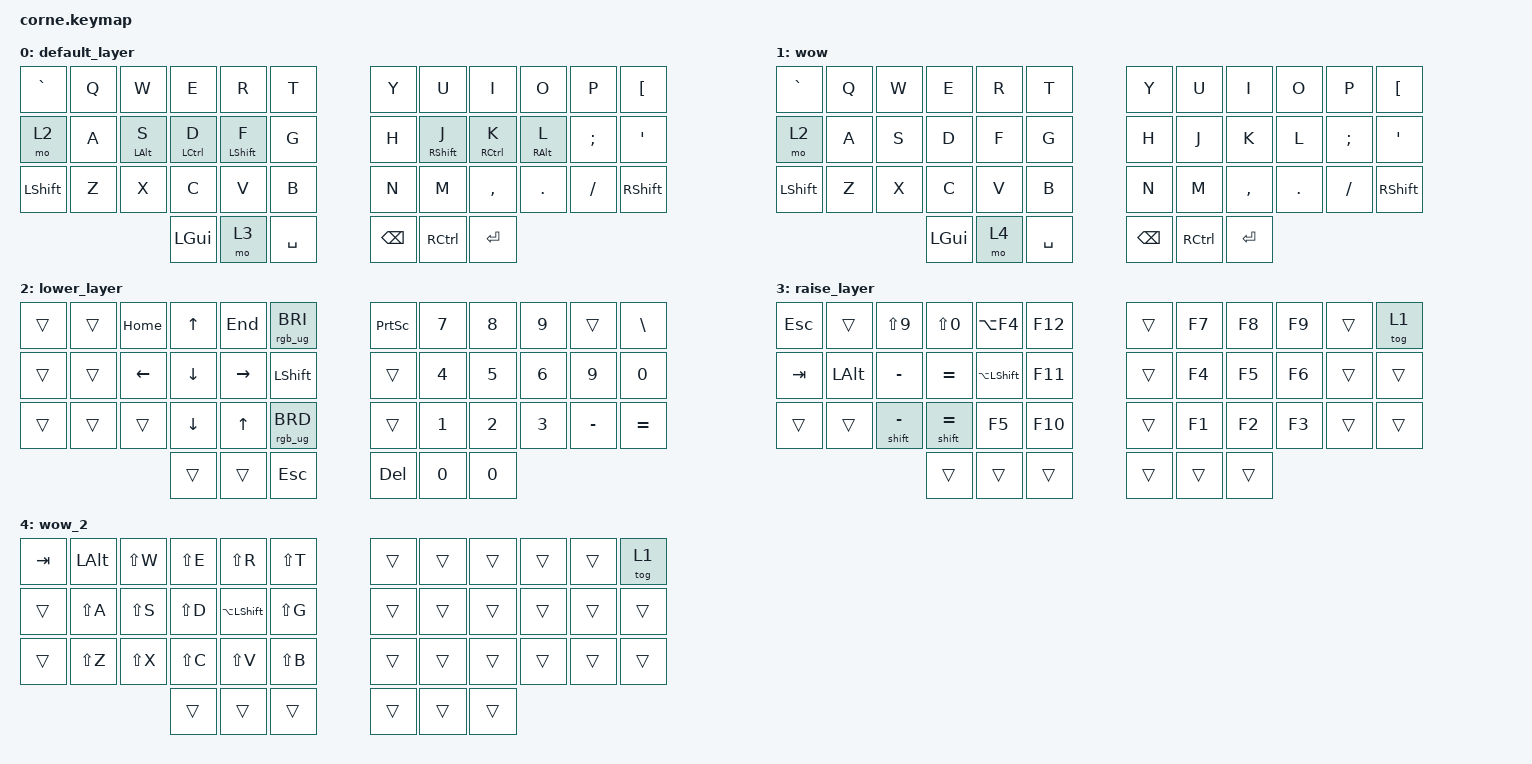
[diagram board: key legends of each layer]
/*
 * Copyright (c) 2020 The ZMK Contributors
 *
 * SPDX-License-Identifier: MIT
 */

#include <behaviors.dtsi>
#include <dt-bindings/zmk/keys.h>
#include <dt-bindings/zmk/rgb.h>

/ {
    behaviors {
        hml: hml {
            compatible = "zmk,behavior-hold-tap";
            label = "HML";
            bindings = <&kp>, <&kp>;

            #binding-cells = <2>;
            tapping-term-ms = <220>;
            hold-trigger-key-positions = <6 7 8 9 10 11 18 19 20 21 22 23 30 31 32 33 34 35 39 40 41>;
            flavor = "tap-preferred";
        };

        hmr: hmr {
            compatible = "zmk,behavior-hold-tap";
            label = "HMR";
            bindings = <&kp>, <&kp>;

            #binding-cells = <2>;
            tapping-term-ms = <220>;
            hold-trigger-key-positions = <0 1 2 3 4 5 12 13 14 15 16 17 24 25 26 27 28 29 36 37 38>;
            flavor = "tap-preferred";
        };
    };

    macros {
        shift: shift {
            compatible = "zmk,behavior-macro-one-param";
            #binding-cells = <1>;
            bindings =
                <&macro_press>,
                <&kp LEFT_SHIFT>,
                <&macro_tap>,
                <&macro_param_1to1 &kp MACRO_PLACEHOLDER>,
                <&macro_release>,
                <&kp LEFT_SHIFT>;

            label = "SHIFT";
        };
    };

    combos {
        compatible = "zmk,combos";

        esc {
            bindings = <&kp TAB>;
            key-positions = <0 1>;
        };

        equal {
            bindings = <&kp ENTER>;
            key-positions = <22 23>;
        };

        equal2 {
            bindings = <&kp RIGHT_BRACKET>;
            key-positions = <32 33>;
        };
    };

    keymap {
        compatible = "zmk,keymap";

        default_layer {
            // -----------------------------------------------------------------------------------------
            // |  TAB |  Q  |  W  |  E  |  R  |  T  |   |  Y  |  U   |  I  |  O  |  P  | BSPC |
            // | CTRL |  A  |  S  |  D  |  F  |  G  |   |  H  |  J   |  K  |  L  |  ;  |  '   |
            // | SHFT |  Z  |  X  |  C  |  V  |  B  |   |  N  |  M   |  ,  |  .  |  /  | ESC  |
            //                    | GUI | LWR | SPC |   | ENT | RSE  | ALT |

            bindings = <
&kp GRAVE       &kp Q  &kp W            &kp E                &kp R              &kp T        &kp Y          &kp U               &kp I                 &kp O             &kp P          &kp LEFT_BRACKET
&mo 2           &kp A  &hml LEFT_ALT S  &hml LEFT_CONTROL D  &hml LEFT_SHIFT F  &kp G        &kp H          &hmr RIGHT_SHIFT J  &hmr RIGHT_CONTROL K  &hmr RIGHT_ALT L  &kp SEMICOLON  &kp SQT
&kp LEFT_SHIFT  &kp Z  &kp X            &kp C                &kp V              &kp B        &kp N          &kp M               &kp COMMA             &kp DOT           &kp FSLH       &kp RIGHT_SHIFT
                                        &kp LEFT_GUI         &mo 3              &kp SPACE    &kp BACKSPACE  &kp RIGHT_CONTROL   &kp ENTER
            >;
        };

        wow {
            // -----------------------------------------------------------------------------------------
            // |  TAB |  Q  |  W  |  E  |  R  |  T  |   |  Y  |  U   |  I  |  O  |  P  | BSPC |
            // | CTRL |  A  |  S  |  D  |  F  |  G  |   |  H  |  J   |  K  |  L  |  ;  |  '   |
            // | SHFT |  Z  |  X  |  C  |  V  |  B  |   |  N  |  M   |  ,  |  .  |  /  | ESC  |
            //                    | GUI | LWR | SPC |   | ENT | RSE  | ALT |

            bindings = <
&kp GRAVE       &kp Q  &kp W  &kp E         &kp R  &kp T        &kp Y          &kp U              &kp I      &kp O    &kp P          &kp LEFT_BRACKET
&mo 2           &kp A  &kp S  &kp D         &kp F  &kp G        &kp H          &kp J              &kp K      &kp L    &kp SEMICOLON  &kp SQT
&kp LEFT_SHIFT  &kp Z  &kp X  &kp C         &kp V  &kp B        &kp N          &kp M              &kp COMMA  &kp DOT  &kp FSLH       &kp RIGHT_SHIFT
                              &kp LEFT_GUI  &mo 4  &kp SPACE    &kp BACKSPACE  &kp RIGHT_CONTROL  &kp ENTER
            >;
        };

        lower_layer {
            // -----------------------------------------------------------------------------------------
            // |  TAB |  1  |  2  |  3  |  4  |  5  |   |  6  |  7  |  8  |  9  |  0  | BSPC |
            // | BTCLR| BT1 | BT2 | BT3 | BT4 | BT5 |   | LFT | DWN |  UP | RGT |     |      |
            // | SHFT |     |     |     |     |     |   |     |     |     |     |     |      |
            //                    | GUI |     | SPC |   | ENT |     | ALT |

            bindings = <
&trans  &trans  &kp HOME  &kp UP_ARROW    &kp END       &rgb_ug RGB_BRI    &kp PRINTSCREEN  &kp NUMBER_7  &kp NUMBER_8  &kp NUMBER_9  &trans     &kp BACKSLASH
&trans  &trans  &kp LEFT  &kp DOWN        &kp RIGHT     &kp LEFT_SHIFT     &trans           &kp NUMBER_4  &kp NUMBER_5  &kp NUMBER_6  &kp NUMBER_9  &kp NUMBER_0
&trans  &trans  &trans    &kp DOWN_ARROW  &kp UP_ARROW  &rgb_ug RGB_BRD    &trans           &kp NUMBER_1  &kp NUMBER_2  &kp NUMBER_3  &kp MINUS  &kp EQUAL
                          &trans          &trans        &kp ESCAPE         &kp DELETE       &kp NUMBER_0  &kp NUMBER_0
            >;
        };

        raise_layer {
            // -----------------------------------------------------------------------------------------
            // |  TAB |  !  |  @  |  #  |  $  |  %  |   |  ^  |  &  |  *  |  (  |  )  | BSPC |
            // | CTRL |     |     |     |     |     |   |  -  |  =  |  [  |  ]  |  \  |  `   |
            // | SHFT |     |     |     |     |     |   |  _  |  +  |  {  |  }  | "|" |  ~   |
            //                    | GUI |     | SPC |   | ENT |     | ALT |

            bindings = <
&kp ESCAPE  &trans        &kp LS(NUMBER_9)  &kp LS(NUMBER_0)  &kp LA(F4)          &kp F12    &trans  &kp F7  &kp F8  &kp F9  &trans  &tog 1
&kp TAB     &kp LEFT_ALT  &kp MINUS         &kp EQUAL         &kp LA(LEFT_SHIFT)  &kp F11    &trans  &kp F4  &kp F5  &kp F6  &trans  &trans
&trans      &trans        &shift MINUS      &shift EQUAL      &kp F5              &kp F10    &trans  &kp F1  &kp F2  &kp F3  &trans  &trans
                                            &trans            &trans              &trans     &trans  &trans  &trans
            >;
        };

        wow_2 {
            bindings = <
&kp TAB  &kp LEFT_ALT  &kp LS(W)  &kp LS(E)  &kp LS(R)           &kp LS(T)    &trans  &trans  &trans  &trans  &trans  &tog 1
&trans   &kp LS(A)     &kp LS(S)  &kp LS(D)  &kp LA(LEFT_SHIFT)  &kp LS(G)    &trans  &trans  &trans  &trans  &trans  &trans
&trans   &kp LS(Z)     &kp LS(X)  &kp LS(C)  &kp LS(V)           &kp LS(B)    &trans  &trans  &trans  &trans  &trans  &trans
                                  &trans     &trans              &trans       &trans  &trans  &trans
            >;
        };
    };

    conditional_layers { compatible = "zmk,conditional-layers"; };
};
